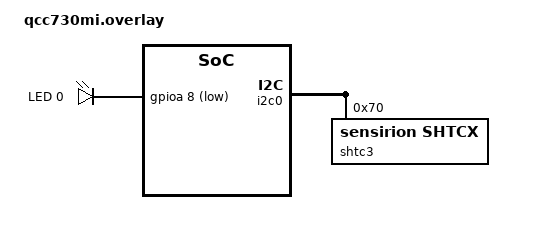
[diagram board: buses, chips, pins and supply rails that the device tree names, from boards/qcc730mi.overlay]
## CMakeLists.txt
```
# Copyright (c) Qualcomm Technologies, Inc. and/or its subsidiaries.
# SPDX-License-Identifier: BSD-3-Clause-Clear

cmake_minimum_required(VERSION 3.20.0)
find_package(Zephyr REQUIRED HINTS $ENV{ZEPHYR_BASE})
project(shtc3)

target_sources(app PRIVATE src/main.c)
```

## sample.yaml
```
# Copyright (c) Qualcomm Technologies, Inc. and/or its subsidiaries.
# SPDX-License-Identifier: BSD-3-Clause-Clear

sample:
  description: Temperature and humidity reading sample
  name: SHTC3 sample
tests:
  sample.sensor.shtc3:
    tags:
      - LED
      - gpio
      - serial
      - i2c
    filter: dt_enabled_alias_with_parent_compat("led0", "gpio-leds")
    depends_on:
      - gpio
      - i2c
      - serial
    harness: sensor
```

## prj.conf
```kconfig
# Copyright (c) Qualcomm Technologies, Inc. and/or its subsidiaries.
# SPDX-License-Identifier: BSD-3-Clause-Clear

CONFIG_GPIO=y
CONFIG_SERIAL=y
CONFIG_CONSOLE=y
CONFIG_UART_CONSOLE=y
CONFIG_I2C=y
CONFIG_SENSOR=y
CONFIG_SHTCX=y
CONFIG_DEBUG_OPTIMIZATIONS=y
CONFIG_PM_DEVICE=y
```

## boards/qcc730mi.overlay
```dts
/*
 * Copyright (c) Qualcomm Technologies, Inc. and/or its subsidiaries.
 *
 * SPDX-License-Identifier: BSD-3-Clause-Clear
 */

/ {
	leds {
		compatible = "gpio-leds";
		led0: led_0 {
			gpios = <&gpioa 8 GPIO_ACTIVE_LOW>;
			label = "LED 0";
		};
	};

	/* These aliases are provided for compatibility with samples */
	aliases {
		led0 = &led0;
	};
};

&i2c0 {
	status = "okay";

	shtc3: sensirion_shtcx@70 {
		compatible = "sensirion,shtcx";
		reg = <0x70>;
		measure-mode = "normal";
		clock-stretching;
	};
};

&gpioa {
	status = "okay";
};
```

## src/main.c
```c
/*
 * Copyright (c) Qualcomm Technologies, Inc. and/or its subsidiaries.
 *
 * SPDX-License-Identifier: BSD-3-Clause-Clear
 */

#include <stdio.h>
#include <zephyr/kernel.h>
#include <zephyr/drivers/gpio.h>
#include <zephyr/device.h>
#include <zephyr/drivers/sensor.h>

#define WAIT_TIME_MS 2000

#define SHTC3_NODE    shtc3
#define SHTC3_NODE_ID DT_NODELABEL(SHTC3_NODE)

/* The devicetree node identifier for the "led0" alias. */
#define LED0_NODE DT_ALIAS(led0)

static const struct gpio_dt_spec led = GPIO_DT_SPEC_GET(LED0_NODE, gpios);
static const struct device *shtc3 = DEVICE_DT_GET(SHTC3_NODE_ID);

int main(void)
{
	int ret;
	bool led_on = true;
	struct sensor_value result_cnvrtd[2];

	if (!gpio_is_ready_dt(&led)) {
		return 0;
	}

	ret = gpio_pin_configure_dt(&led, GPIO_OUTPUT_ACTIVE);
	if (ret < 0) {
		return 0;
	}

	if (!device_is_ready(shtc3)) {
		printf("Error - shtc3 not initialized! \n");
		return -ENODEV;
	}

	while (1) {
		ret = sensor_sample_fetch(shtc3);
		sensor_channel_get(shtc3, SENSOR_CHAN_HUMIDITY, &result_cnvrtd[0]);
		if (ret < 0) {
			printf("Error while reading humidity from shtc3: %d \n", ret);
			continue;
		}

		sensor_channel_get(shtc3, SENSOR_CHAN_AMBIENT_TEMP, &result_cnvrtd[1]);
		if (ret < 0) {
			printf("Error while reading temperature from shtc3: %d \n", ret);
			continue;
		}

		ret = gpio_pin_toggle_dt(&led);
		if (ret < 0) {
			return 0;
		}

		led_on = !led_on;
		printf("Humidity: %d%%  Temperature: %d °C \n", result_cnvrtd[0].val1,
		       result_cnvrtd[1].val1);
		k_msleep(WAIT_TIME_MS);
	}
	return 0;
}
```
